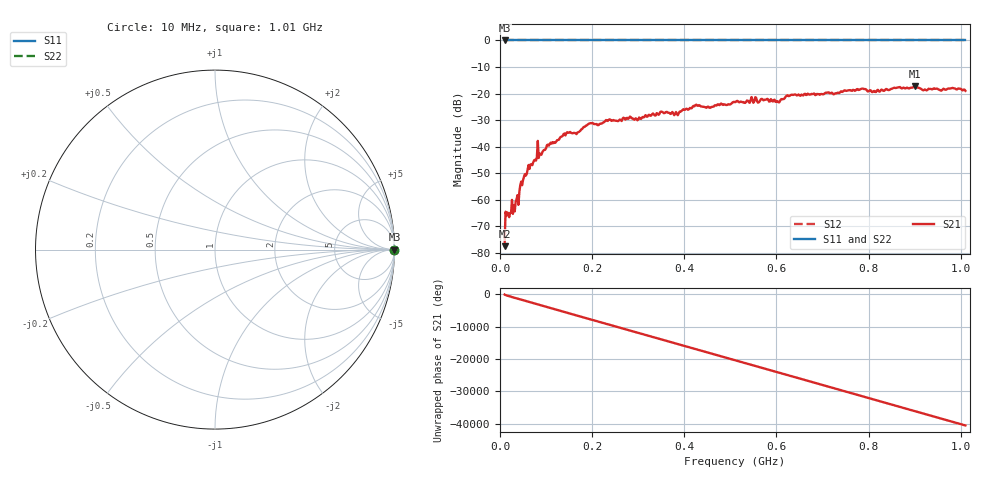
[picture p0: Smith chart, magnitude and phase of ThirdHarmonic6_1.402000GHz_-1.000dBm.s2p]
! 8/16/2025 4:02:12 PM
! C:\ANRITSUVNA\TEMP\TEMP.S2P
! CHANNEL.1
! TR.MEASUREMENT
! RAW.DATA
! RF.CORRECTION.OFF
! AVERAGING.OFF
! IF.BANDWIDTH: 5KHZ
! SWEEPTYPE:  FREQ.SWEEP(Linear)
! Reference Plane Port Info
! PORT:  PORT1  PORT2
! DISTANCE:  0  m  0  m
! TIME:  0  s  0  s
! PHASE.OFFSET:  0  deg.  0  deg.
! LOSS:  0  dB  0  dB
! REF.LOSS:  0  dB  0  dB
! REF.FREQ:  0  Hz  0  Hz
! Power Info
! POWER:  -20  dBm  -20  dBm
! EFF.POWER:  -20  dBm  -20  dBm
! SOURCE.ATTEN:  0  dB  0  dB
! TEST.ATTEN:  0  dB  0  dB
# GHZ S RI R 50.0
! FREQ.GHZ  S11RE  S11IM  S21RE  S21IM  S12RE  S12IM  S22RE  S22IM
!; PortSelection: Port_12
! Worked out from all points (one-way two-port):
!   501 points, 10 MHz to 1.01 GHz, reference 50 ohm
!   highest |S21| = -17.25 dB at 900 MHz (marker M1); lowest = -77.5 dB at 10 MHz (marker M2)
!   lowest |S11| = 0.0 dB at 10 MHz (marker M3)
!   |S11| at or under -10 dB: nowhere
!   |S22| runs from 0.0 to 0.0 dB; largest |S21 - S12| = 1.1
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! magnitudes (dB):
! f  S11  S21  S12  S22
! 10 MHz  0.0  -77.5  0.0  0.0
! 16 MHz  0.0  -64.8  0.0  0.0
! 32 MHz  0.0  -64.4  0.0  0.0
! 50 MHz  0.0  -52.6  0.0  0.0
! 64 MHz  0.0  -48.4  0.0  0.0
! 76 MHz  0.0  -45.0  0.0  0.0
! 78 MHz  0.0  -45.3  0.0  0.0
! 142 MHz  0.0  -35.8  0.0  0.0
! 178 MHz  0.0  -33.4  0.0  0.0
! 196 MHz  0.0  -31.1  0.0  0.0
! 296 MHz  0.0  -29.5  0.0  0.0
! 344 MHz  0.0  -28.0  0.0  0.0
! 382 MHz  0.0  -27.0  0.0  0.0
! 424 MHz  0.0  -24.4  0.0  0.0
! 458 MHz  0.0  -25.1  0.0  0.0
! 510 MHz  0.0  -23.2  0.0  0.0
! 602 MHz  0.0  -22.8  0.0  0.0
! 626 MHz  0.0  -21.0  0.0  0.0
! 678 MHz  0.0  -20.3  0.0  0.0
! 844 MHz  0.0  -18.7  0.0  0.0
! 900 MHz  0.0  -17.2  0.0  0.0
! 1.01 GHz  0.0  -19.0  0.0  0.0
